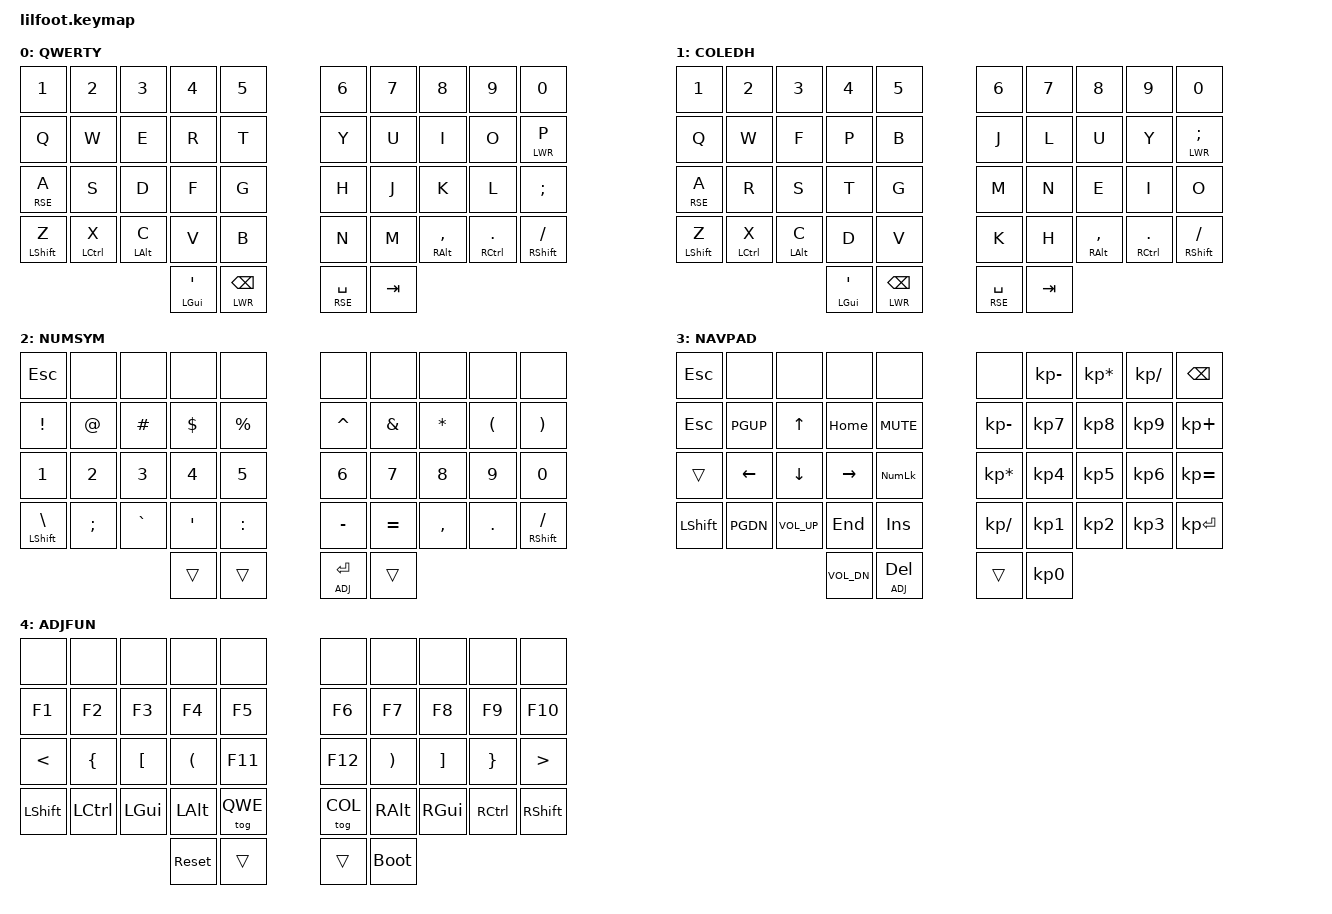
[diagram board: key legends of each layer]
#include <behaviors.dtsi>
#include <dt-bindings/zmk/keys.h>
#include <dt-bindings/zmk/bt.h>
#include <dt-bindings/zmk/outputs.h>

#define QWE 0
#define COL 1
#define LWR 2
#define RSE 3
#define ADJ 4


// Using layer taps on thumbs, having quick tap as well helps w/ repeating space/backspace
&lt { quick_tap_ms = <200>; };

/ {
  behaviors {
        hm: homerow_mods {
            compatible = "zmk,behavior-hold-tap";
            label = "homerow mods";
            #binding-cells = <2>;
            tapping-term-ms = <200>;
            flavor = "tap-preferred";
            bindings = <&kp>, <&kp>;
        };
  };

  chosen {
    zmk,matrix_transform = &default_transform;
  };
};

/ {
        keymap {
                compatible = "zmk,keymap";

                default_layer {
                        label = "QWERTY";
// -----------------------------------------------------------------------------------------
// |  1  |  2  |  3  |  4  |  5  |    |  6  |  7  |  8  |  9  |  0  |
// |  Q  |  W  |  F  |  P  |  B  |    |  J  |  L  |  U  |  Y  |LOW-;|
// |RSE-A|  R  |  S  |  T  |  G  |    |  M  |  N  |  E  |  I  |  O  |
// |SFT-Z|CTL-X|ALT-C|  D  |  V  |    |  K  |  H  |ALT-,|CTL-.|SFT-/|
//                   |GUI-'| LOW-BS||RSE-SP | TAB |
                        bindings = <
    &kp N1         &kp N2         &kp N3         &kp N4         &kp N5         &kp N6         &kp N7         &kp N8         &kp N9         &kp N0
    &kp Q          &kp W          &kp E          &kp R          &kp T          &kp Y          &kp U          &kp I          &kp O          &lt LWR P
    &lt RSE A      &kp S          &kp D          &kp F          &kp G          &kp H          &kp J          &kp K          &kp L          &kp SEMI
    &hm LSHFT Z    &hm LCTRL X    &hm LALT C     &kp V          &kp B          &kp N          &kp M          &hm RALT COMMA &hm RCTRL DOT  &hm RSHFT FSLH
                                       &hm LGUI SQT   &lt LWR BSPC                  &lt RSE SPACE  &kp TAB
                        >;
                };

                colemak_layer {
                        label = "COLEDH";
// -----------------------------------------------------------------------------------------
// |  1  |  2  |  3  |  4  |  5  |    |  6  |  7  |  8  |  9  |  0  |
// |  Q  |  W  |  F  |  P  |  B  |    |  J  |  L  |  U  |  Y  |LOW-;|
// |RSE-A|  R  |  S  |  T  |  G  |    |  M  |  N  |  E  |  I  |  O  |
// |SFT-Z|CTL-X|ALT-C|  D  |  V  |    |  K  |  H  |ALT-,|CTL-.|SFT-/|
//                   |GUI-'| LOW-BS||RSE-SP | TAB |
                        bindings = <
    &kp N1         &kp N2         &kp N3         &kp N4         &kp N5         &kp N6         &kp N7         &kp N8         &kp N9         &kp N0
    &kp Q          &kp W          &kp F          &kp P          &kp B          &kp J          &kp L          &kp U          &kp Y          &lt LWR SEMI
    &lt RSE A      &kp R          &kp S          &kp T          &kp G          &kp M          &kp N          &kp E          &kp I          &kp O
    &hm LSHFT Z    &hm LCTRL X    &hm LALT C     &kp D          &kp V          &kp K          &kp H          &hm RALT COMMA &hm RCTRL DOT  &hm RSHFT FSLH
                                       &hm LGUI SQT   &lt LWR BSPC                  &lt RSE SPACE  &kp TAB
                        >;
                };

                lower_layer {
                        label = "NUMSYM";
// -----------------------------------------------------------------------------------------
// | ESC |     |     |     |     |    |     |     |     |     |     |
// |  !  |  @  |  #  |  $  |  %  |    |  ^  |  &  |  *  |  (  |  )  |
// |  1  |  2  |  3  |  4  |  5  |    |  6  |  7  |  8  |  9  |  0  |
// |SFT-\| ; : | ` ~ | ' " |  :  |    | - _ | = + |  ,  |  .  |SFT-/|
//                       |||       ||ADJ-ENT|     |
                        bindings = <
    &kp ESC        &none          &none          &none          &none          &none          &none          &none          &none          &none
    &kp EXCL       &kp AT         &kp HASH       &kp DLLR       &kp PRCNT      &kp CARET      &kp AMPS       &kp STAR       &kp LPAR       &kp RPAR
    &kp N1         &kp N2         &kp N3         &kp N4         &kp N5         &kp N6         &kp N7         &kp N8         &kp N9         &kp N0
    &hm LSHFT BSLH &kp SEMI       &kp GRAVE      &kp SQT        &kp COLON      &kp MINUS      &kp EQUAL      &kp COMMA      &kp DOT        &hm RSHFT FSLH
                                       &trans         &trans                        &lt ADJ RET    &trans
                        >;
                };

                raise_layer {
                        label = "NAVPAD";
// -----------------------------------------------------------------------------------------
// | ESC |     |     |     |     |    |     | KP- | KP* | KP/ | BKSP|
// | ESC | PGUP|  UP | HOME| MUTE|    | KP- | KP7 | KP8 | KP9 | KP_+|
// |     | LEFT| DOWN|RIGHT|NUMLK|    | KP* | KP4 | KP5 | KP6 | KP_=|
// |SHIFT| PGDN|VOL_+| END |     |    | KP/ | KP1 | KP2 | KP3 |KPENT|
//                  |VOL_-||ADJ-DEL||       | KP0 |
                        bindings = <
   &kp ESC         &none          &none          &none          &none          &none           &kp KP_MINUS   &kp KP_ASTERISK &kp KP_DIVIDE   &kp BSPC
   &kp ESC         &kp PGUP       &kp UP         &kp HOME       &kp C_MUTE     &kp KP_MINUS    &kp KP_N7      &kp KP_N8       &kp KP_N9       &kp KP_PLUS
   &trans          &kp LEFT       &kp DOWN       &kp RIGHT      &kp KP_NUM     &kp KP_ASTERISK &kp KP_N4      &kp KP_N5       &kp KP_N6       &kp KP_EQUAL
   &kp LSHFT       &kp PGDN       &kp C_VOL_UP   &kp END        &kp INS        &kp KP_DIVIDE   &kp KP_N1      &kp KP_N2       &kp KP_N3       &kp KP_ENTER
                    	               &kp C_VOL_DN   &lt ADJ DEL                   &trans         &kp KP_N0
                        >;
                };

                adjust_layer {
                        label = "ADJFUN";
// -----------------------------------------------------------------------------------------
// |     |     |     |     |     |    |     |     |     |     |     |
// | F1  | F2  | F3  | F4  | F5  |    | F6  | F7  | F8  | F9  | F10 |
// |  <  |  {  |  [  |  (  | F11 |    | F12 |  )  |  ]  |  }  |  >  |
// |SHIFT|CTRL | GUI | ALT |     |    |     | ALT | GUI |CTRL |SHIFT|
//                   | GUI |       ||       | ALT |
                        bindings = <
    &none          &none          &none          &none          &none          &none          &none          &none          &none          &none
    &kp F1         &kp F2         &kp F3         &kp F4         &kp F5         &kp F6         &kp F7         &kp F8         &kp F9         &kp F10
    &kp LT         &kp LBRC       &kp LBKT       &kp LPAR       &kp F11        &kp F12        &kp RPAR       &kp RBKT       &kp RBRC       &kp GT
    &kp LSHFT      &kp LCTRL      &kp LGUI       &kp LALT       &tog QWE       &tog COL          &kp RALT       &kp RGUI       &kp RCTRL      &kp RSHFT
                                       &sys_reset     &trans                        &trans         &bootloader
                        >;
                };
        };
};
